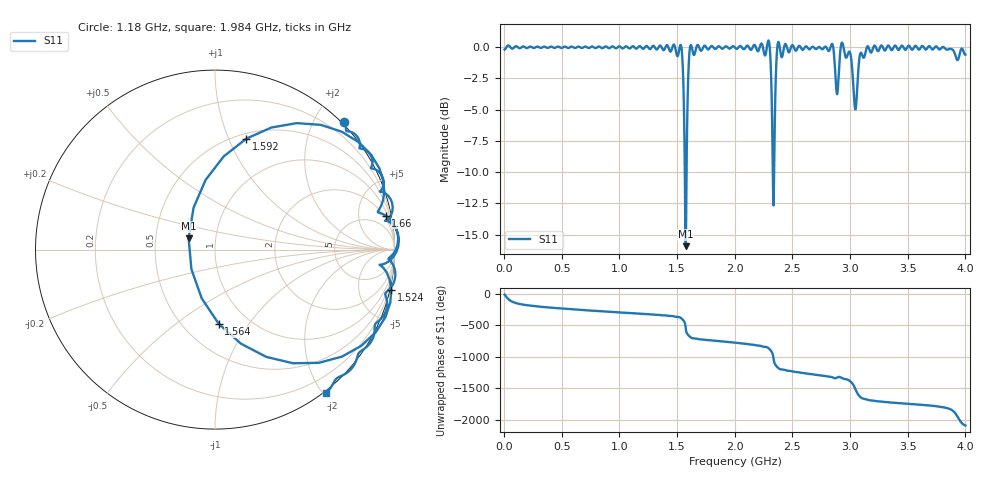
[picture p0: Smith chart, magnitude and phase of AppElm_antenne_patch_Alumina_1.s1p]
! TOUCHSTONE file generated by CST MICROWAVE STUDIO
! Date and time: Thu Jun  9 15:16:37 2022
! Project name: AppElm_antenne_patch_Alumina.cst
! Parameters = {L=30.5; W=41.8; e=0.035; h=1.6; lambda=0.190476; ls=90; w0=1.12; w1=0.373; ws=90; y0=14; y1=7.5}
! Header version: 2018
! Port assignment regex: !\s*Touchstone port\s*([0-9]+)\s*=\s*(CST MWS port|CST DS port)\s*([0-9]+|Zmin|Zmax)\s*\(\"(.*)\"\)(\s*mode\s*([0-9]+))?.*
! Touchstone port assignment:
! Touchstone port 1 = CST MWS port 1 ("")
# GHz S MA R 50
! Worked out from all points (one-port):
!   1000 points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, 4 MHz to 4 GHz, reference 50 ohm
!   lowest |S11| = -15.9 dB at 1.576 GHz (marker M1), VSWR 1.38, Z = 36.9 + j4.77 ohm
!   |S11| at or under -10 dB: 1.567 GHz to 1.582 GHz (15.07 MHz wide, 0.957 % of centre); 2.330247 GHz to 2.341059 GHz (10.81 MHz wide, 0.463 % of centre)
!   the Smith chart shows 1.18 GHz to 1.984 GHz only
!   S11 on the Smith chart (normalised r, x): 1.18 GHz: -0.03, +2.43; 1.524 GHz: -0.31, -8.84; 1.564 GHz: 0.73, -0.73; 1.592 GHz: 0.55, +1.16; 1.66 GHz: 2, +10; 1.984 GHz: -0.02, -2.05
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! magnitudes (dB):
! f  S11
! 4 MHz  -0.2
! 504 MHz  0.0
! 1.004 GHz  0.1
! 1.18 GHz  0.1
! 1.504 GHz  -0.7
! 1.524 GHz  0.1
! 1.544 GHz  -0.7
! 1.564 GHz  -7.7
! 1.576 GHz  -15.9
! 1.592 GHz  -3.8
! 1.612 GHz  0.0
! 1.66 GHz  -0.3
! 1.984 GHz  0.1
! 2.004 GHz  0.0
! 2.292 GHz  0.5
! 2.336 GHz  -12.7
! 2.348 GHz  -5.6
! 2.376 GHz  0.4
! 2.504 GHz  0.1
! 2.84 GHz  0.3
! 2.888 GHz  -3.8
! 2.932 GHz  0.4
! 3.004 GHz  -0.6
! 3.044 GHz  -5.0
! 3.088 GHz  -0.5
! 3.148 GHz  0.1
! 3.504 GHz  0.1
! 4 GHz  -0.6
